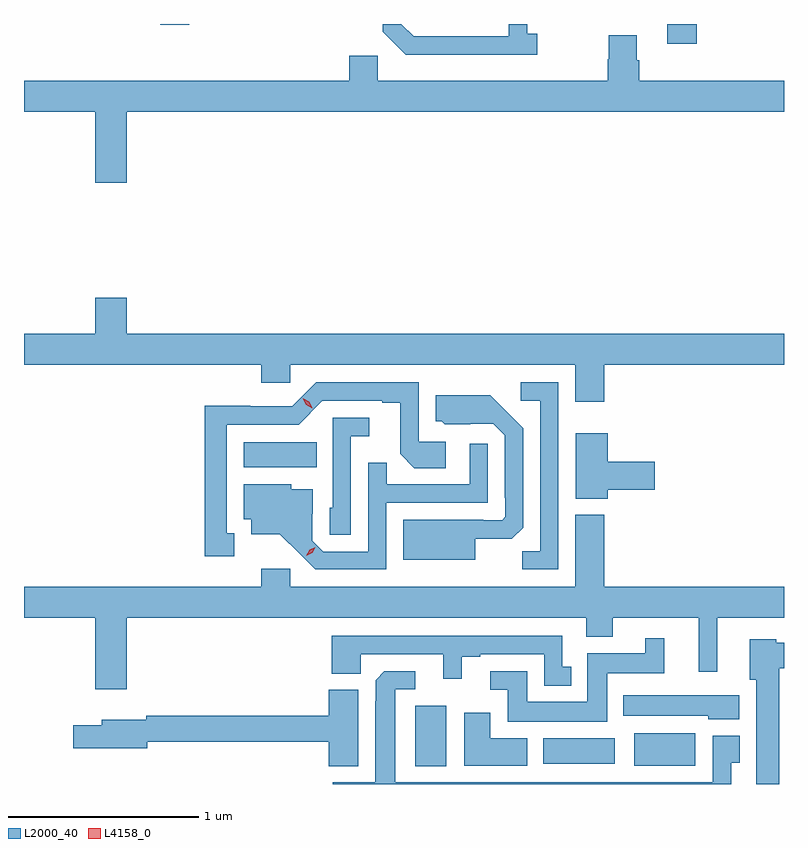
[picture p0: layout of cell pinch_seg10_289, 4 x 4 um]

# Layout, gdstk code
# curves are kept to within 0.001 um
import gdstk
lib = gdstk.Library(unit=1e-6, precision=1e-09)
def R(c, l, rs):  # rectangles x0, y0, x1, y1
    for r in rs: c.add(gdstk.rectangle(r[:2], r[2:], *l))
def P(c, l, *ps):  # polygons
    for p in ps: c.add(gdstk.Polygon(p, *l))
L2000_40 = (2000, 40)
L4158_0 = (4158, 0)

pinch_seg10_289 = lib.new_cell('pinch_seg10_289')
R(pinch_seg10_289, L2000_40, [(418.439,1294.208,418.603,1294.525), (419.591,1294.211,419.914,1294.381), (419.114,1294.22,419.488,1294.354), (417.536,1295.78,417.92,1295.914), (419.765,1298.01,419.921,1298.114), (417.096,1298.11,417.25,1298.114)])
P(pinch_seg10_289, L2000_40, [(419.08,1298.062),(419.028,1298.062),(419.028,1298.114),(418.931,1298.114),(418.931,1298.049),(418.431,1298.049),(418.366,1298.114),(418.269,1298.114),(418.269,1298.073),(418.39,1297.952),(419.08,1297.952)],
  [(416.92,1297.652),(420.38,1297.652),(420.38,1297.816),(419.618,1297.816),(419.618,1297.922),(419.605,1297.922),(419.605,1298.054),(419.458,1298.054),(419.458,1297.929),(419.453,1297.929),(419.453,1297.816),(418.242,1297.816),(418.242,1297.948),(418.091,1297.948),(418.091,1297.816),(416.38,1297.816),(416.38,1297.652),(416.756,1297.652),(416.756,1297.278),(416.92,1297.278)],
  [(419.435,1296.32),(420.38,1296.32),(420.38,1296.484),(416.92,1296.484),(416.92,1296.673),(416.756,1296.673),(416.756,1296.484),(416.38,1296.484),(416.38,1296.32),(417.629,1296.32),(417.629,1296.227),(417.78,1296.227),(417.78,1296.32),(419.282,1296.32),(419.282,1296.126),(419.435,1296.126)],
  [(417.487,1295.433),(417.448,1295.433),(417.448,1296.006),(417.825,1296.006),(417.951,1296.132),(418.265,1296.132),(418.265,1296.12),(418.359,1296.12),(418.359,1295.852),(418.435,1295.776),(418.6,1295.776),(418.6,1295.916),(418.458,1295.916),(418.458,1296.228),(417.918,1296.228),(417.792,1296.102),(417.57,1296.102),(417.57,1296.104),(417.33,1296.104),(417.33,1295.313),(417.487,1295.313)],
  [(419.193,1296.228),(418.995,1296.228),(418.995,1296.132),(419.097,1296.132),(419.097,1295.339),(419.002,1295.339),(419.002,1295.244),(419.193,1295.244)],
  [(418.756,1295.405),(418.948,1295.405),(419.007,1295.464),(419.007,1295.986),(418.835,1296.16),(418.547,1296.16),(418.547,1296.024),(418.578,1296.024),(418.594,1296.008),(418.851,1296.009),(418.911,1295.949),(418.911,1295.62),(418.914,1295.62),(418.914,1295.52),(418.896,1295.502),(418.796,1295.502),(418.796,1295.506),(418.376,1295.506),(418.376,1295.294),(418.756,1295.294)],
  [(418.101,1295.945),(418.198,1295.945),(418.198,1296.042),(418.005,1296.042),(418.005,1295.568),(417.99,1295.568),(417.99,1295.425),(418.101,1295.425)],
  [(419.452,1295.663),(419.701,1295.663),(419.701,1295.81),(419.452,1295.81),(419.452,1295.959),(419.285,1295.959),(419.285,1295.615),(419.452,1295.615)],
  [(418.287,1295.595),(418.821,1295.595),(418.821,1295.905),(418.725,1295.905),(418.725,1295.691),(418.289,1295.691),(418.289,1295.804),(418.191,1295.804),(418.191,1295.337),(417.954,1295.337),(417.897,1295.394),(417.897,1295.536),(417.901,1295.536),(417.901,1295.665),(417.786,1295.665),(417.786,1295.692),(417.536,1295.692),(417.536,1295.508),(417.575,1295.508),(417.575,1295.429),(417.727,1295.429),(417.914,1295.244),(418.287,1295.244)],
  [(416.92,1294.988),(419.339,1294.988),(419.339,1294.889),(419.479,1294.889),(419.479,1294.988),(419.93,1294.988),(419.93,1294.704),(420.028,1294.704),(420.028,1294.988),(420.38,1294.988),(420.38,1295.152),(419.435,1295.152),(419.435,1295.53),(419.282,1295.53),(419.282,1295.152),(417.78,1295.152),(417.78,1295.248),(417.629,1295.248),(417.629,1295.152),(416.38,1295.152),(416.38,1294.988),(416.756,1294.988),(416.756,1294.614),(416.92,1294.614)],
  [(419.26,1294.731),(419.214,1294.731),(419.214,1294.893),(418.001,1294.893),(418.001,1294.694),(418.152,1294.694),(418.152,1294.797),(418.586,1294.797),(418.586,1294.668),(418.684,1294.668),(418.684,1294.785),(418.78,1294.785),(418.78,1294.797),(419.118,1294.797),(419.118,1294.631),(419.26,1294.631)],
  [(419.449,1294.697),(419.75,1294.697),(419.75,1294.882),(419.651,1294.882),(419.651,1294.801),(419.345,1294.801),(419.345,1294.546),(419.029,1294.546),(419.029,1294.707),(418.833,1294.707),(418.833,1294.611),(418.925,1294.611),(418.925,1294.442),(419.449,1294.442)],
  [(420.356,1294.724),(420.38,1294.724),(420.38,1294.858),(420.339,1294.858),(420.339,1294.876),(420.2,1294.876),(420.2,1294.662),(420.233,1294.662),(420.233,1294.114),(420.356,1294.114)],
  [(420.103,1294.225),(420.148,1294.225),(420.148,1294.369),(420.006,1294.369),(420.006,1294.123),(418.333,1294.123),(418.333,1294.614),(418.438,1294.614),(418.438,1294.707),(418.276,1294.707),(418.23,1294.661),(418.229,1294.123),(418.005,1294.123),(418.005,1294.114),(420.103,1294.114)],
  [(418.138,1294.609),(417.983,1294.609),(417.983,1294.472),(417.024,1294.472),(417.024,1294.453),(416.789,1294.453),(416.789,1294.423),(416.64,1294.423),(416.64,1294.301),(417.028,1294.301),(417.028,1294.336),(417.983,1294.336),(417.983,1294.208),(418.138,1294.208)],
  [(420.145,1294.582),(419.534,1294.582),(419.534,1294.472),(419.982,1294.472),(419.982,1294.454),(420.145,1294.454)],
  [(419.029,1294.354),(418.834,1294.354),(418.834,1294.489),(418.697,1294.489),(418.697,1294.211),(419.029,1294.211)])
P(pinch_seg10_289, L4158_0, [(417.866,1295.315),(417.866,1295.315),(417.883,1295.346),(417.913,1295.361),(417.913,1295.361),(417.913,1295.361),(417.897,1295.331),(417.866,1295.315)],
  [(417.897,1296.092),(417.865,1296.11),(417.848,1296.143),(417.848,1296.143),(417.848,1296.143),(417.88,1296.125),(417.898,1296.092),(417.898,1296.092)])

lib.write_gds('pinch_seg10_289.gds')
